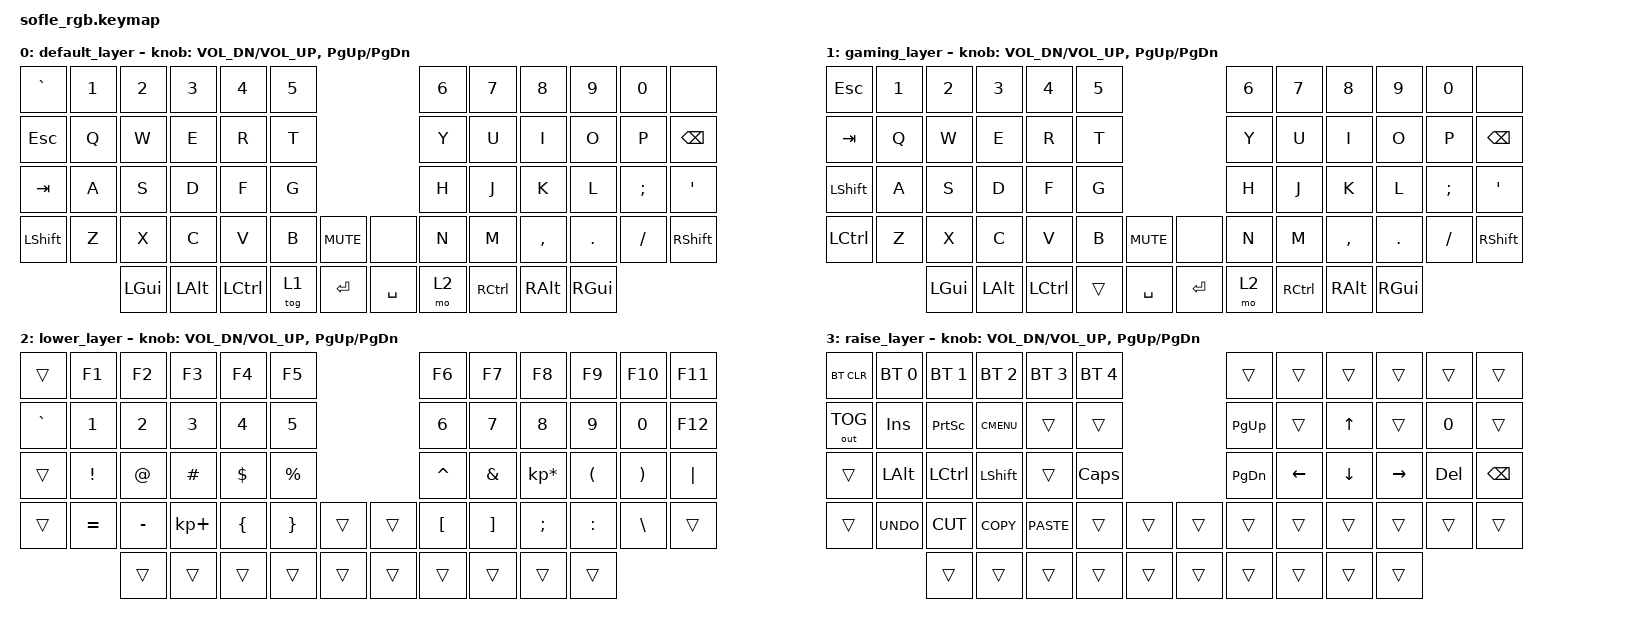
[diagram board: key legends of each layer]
/{/*
 * Copyright (c) 2020 The ZMK Contributors
 *
 * SPDX-License-Identifier: MIT
 */

#include <behaviors.dtsi>
#include <dt-bindings/zmk/keys.h>
#include <dt-bindings/zmk/bt.h>
#include <dt-bindings/zmk/rgb.h>
#include <dt-bindings/zmk/outputs.h>

/ {
    keymap {
        compatible = "zmk,keymap";

        default_layer {
// ------------------------------------------------------------------------------------------------------------
// |  `    |  1  |  2  |  3   |  4   |  5   |                   |  6   |  7    |  8    |  9   |   0   |       |
// |  ESC  |  Q  |  W  |  E   |  R   |  T   |                   |  Y   |  U    |  I    |  O   |   P   | BKSPC |
// |  TAB  |  A  |  S  |  D   |  F   |  G   |                   |  H   |  J    |  K    |  L   |   ;   |   '   |
// | SHIFT |  Z  |  X  |  C   |  V   |  B   |  MUTE  |  |       |  N   |  M    |  ,    |  .   |   /   | SHIFT |
//               | GUI | ALT  | CTRL | LOWER|  ENTER |  | SPACE | RAISE| CTRL  | ALT   | GUI  |
            bindings = <
&kp GRAVE &kp N1 &kp N2   &kp N3   &kp N4    &kp N5                      &kp N6 &kp N7    &kp N8    &kp N9   &kp N0   &none
&kp ESC   &kp Q  &kp W    &kp E    &kp R     &kp T                       &kp Y  &kp U     &kp I     &kp O    &kp P    &kp BSPC
&kp TAB   &kp A  &kp S    &kp D    &kp F     &kp G                       &kp H  &kp J     &kp K     &kp L    &kp SEMI &kp SQT
&kp LSHFT &kp Z  &kp X    &kp C    &kp V     &kp B  &kp C_MUTE &none     &kp N  &kp M     &kp COMMA &kp DOT  &kp FSLH &kp RSHFT
                 &kp LGUI &kp LALT &kp LCTRL &tog 1  &kp RET    &kp SPACE &mo 2  &kp RCTRL &kp RALT  &kp RGUI
            >;

            sensor-bindings = <&inc_dec_kp C_VOL_DN C_VOL_UP &inc_dec_kp PG_UP PG_DN>;
        };

        gaming_layer {
// ------------------------------------------------------------------------------------------------------------
// |  ESC  |  1  |  2  |  3   |  4   |  5   |                   |  6   |  7    |  8    |  9   |   0   |       |
// |  TAB  |  Q  |  W  |  E   |  R   |  T   |                   |  Y   |  U    |  I    |  O   |   P   | BKSPC |
// | SHIFT |  A  |  S  |  D   |  F   |  G   |                   |  H   |  J    |  K    |  L   |   ;   |   '   |
// |  CTRL |  Z  |  X  |  C   |  V   |  B   |  MUTE  |  |       |  N   |  M    |  ,    |  .   |   /   | SHIFT |
//               | GUI | ALT  | CTRL | LOWER|  SPACE |  | ENTER | RAISE| CTRL  | ALT   | GUI  |
            bindings = <
&kp ESC   &kp N1 &kp N2   &kp N3   &kp N4    &kp N5                      &kp N6 &kp N7    &kp N8    &kp N9   &kp N0   &none
&kp TAB   &kp Q  &kp W    &kp E    &kp R     &kp T                       &kp Y  &kp U     &kp I     &kp O    &kp P    &kp BSPC
&kp LSHFT &kp A  &kp S    &kp D    &kp F     &kp G                       &kp H  &kp J     &kp K     &kp L    &kp SEMI &kp SQT
&kp LCTRL &kp Z  &kp X    &kp C    &kp V     &kp B  &kp C_MUTE &none     &kp N  &kp M     &kp COMMA &kp DOT  &kp FSLH &kp RSHFT
                 &kp LGUI &kp LALT &kp LCTRL &trans  &kp SPACE    &kp RET &mo 2  &kp RCTRL &kp RALT  &kp RGUI
            >;

            sensor-bindings = <&inc_dec_kp C_VOL_DN C_VOL_UP &inc_dec_kp PG_UP PG_DN>;
        };        

        lower_layer {
// ------------------------------------------------------------------------------------------------------------
// |       |  F1 |  F2 |  F3  |  F4  |  F5  |                   |  F6  |  F7   |  F8   |  F9  |  F10  |  F11  |
// | `     |   1 |   2 |   3  |   4  |   5  |                   |   6  |   7   |   8   |   9  |    0  |  F12  |
// |       |  !  |  @  |  #   |  $   |  %   |                   |  ^   |  &    |  *    |  (   |   )   |   |   |
// |       |  =  |  -  |  +   |  {   |  }   |        |  |       |  [   |  ]    |  ;    |  :   |   \   |       |
//               |     |      |      |      |        |  |       |      |       |       |      |
            bindings = <
&trans    &kp F1    &kp F2    &kp F3      &kp F4    &kp F5                    &kp F6    &kp F7   &kp F8          &kp F9    &kp F10   &kp F11
&kp GRAVE &kp N1    &kp N2    &kp N3      &kp N4    &kp N5                    &kp N6    &kp N7   &kp N8          &kp N9    &kp N0    &kp F12
&trans    &kp EXCL  &kp AT    &kp HASH    &kp DLLR  &kp PRCNT                 &kp CARET &kp AMPS &kp KP_MULTIPLY &kp LPAR  &kp RPAR  &kp PIPE
&trans    &kp EQUAL &kp MINUS &kp KP_PLUS &kp LBRC  &kp RBRC  &trans   &trans &kp LBKT  &kp RBKT &kp SEMI        &kp COLON &kp BSLH  &trans
                    &trans    &trans      &trans    &trans    &trans   &trans &trans    &trans   &trans          &trans
            >;

            sensor-bindings = <&inc_dec_kp C_VOL_DN C_VOL_UP &inc_dec_kp PG_UP PG_DN>;
        };

        raise_layer {
// ------------------------------------------------------------------------------------------------------------
// |BTCLR| BT1  | BT2  |  BT3  |  BT4  |  BT5 |                |      |      |       |      |       |       |
// |     | INS  | PSCR | GUI   |       |      |                | PGUP |      |   ^   |      |       |       |
// |     | ALT  | CTRL | SHIFT |       | CAPS |                | PGDN |   <- |   v   |  ->  |  DEL  | BKSPC |
// |     | UNDO | CUT  | COPY  | PASTE |      |      |  |      |      |      |       |      |       |       |
//              |      |       |       |      |      |  |      |      |      |       |      |
            bindings = <
&bt BT_CLR &bt BT_SEL 0 &bt BT_SEL 1 &bt BT_SEL 2 &bt BT_SEL 3 &bt BT_SEL 4             &trans    &trans    &trans   &trans    &trans  &trans
&out OUT_TOG     &kp INS      &kp PSCRN    &kp K_CMENU  &trans       &trans                   &kp PG_UP &trans    &kp UP   &trans    &kp N0  &trans
&trans     &kp LALT     &kp LCTRL    &kp LSHFT    &trans       &kp CLCK                 &kp PG_DN &kp LEFT  &kp DOWN &kp RIGHT &kp DEL &kp BSPC
&trans     &kp K_UNDO   &kp K_CUT    &kp K_COPY   &kp K_PASTE  &trans  &trans   &trans  &trans    &trans    &trans   &trans    &trans  &trans
                        &trans       &trans       &trans       &trans  &trans   &trans  &trans    &trans    &trans   &trans
            >;

            sensor-bindings = <&inc_dec_kp C_VOL_DN C_VOL_UP &inc_dec_kp PG_UP PG_DN>;
        };
    };
};
